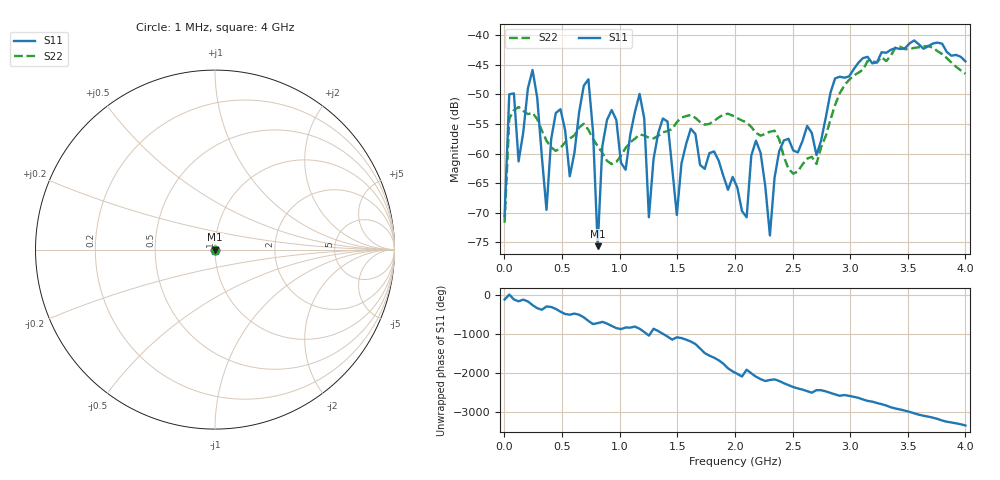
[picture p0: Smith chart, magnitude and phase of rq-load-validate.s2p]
!Created with skrf (http://scikit-rf.org).
# GHz S DB R 50.0
!freq dBS11 angS11 dBS21 angS21 dBS12 angS12 dBS22 angS22
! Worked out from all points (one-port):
!   100 points, 1 MHz to 4 GHz, reference 50 ohm
!   lowest |S11| = -75.6 dB at 808.9 MHz (marker M1), VSWR 1.00, Z = 50 - j0.000253 ohm
!   |S11| at or under -10 dB: start of sweep to end of sweep
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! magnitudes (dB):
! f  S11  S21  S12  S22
! 1 MHz  -70.5  -  -  -71.7
! 41.39 MHz  -50.0  -  -  -54.1
! 122.2 MHz  -61.3  -  -  -52.2
! 243.4 MHz  -45.9  -  -  -53.1
! 364.5 MHz  -69.5  -  -  -57.8
! 445.3 MHz  -53.2  -  -  -59.6
! 566.5 MHz  -63.8  -  -  -57.5
! 687.7 MHz  -48.6  -  -  -55.0
! 808.9 MHz  -75.6  -  -  -58.8
! 930.1 MHz  -52.7  -  -  -61.8
! 1.051 GHz  -62.7  -  -  -59.1
! 1.172 GHz  -49.9  -  -  -56.8
! 1.253 GHz  -70.8  -  -  -57.3
! 1.334 GHz  -56.5  -  -  -57.0
! 1.496 GHz  -70.4  -  -  -54.7
! 1.617 GHz  -55.8  -  -  -53.5
! 2.021 GHz  -65.7  -  -  -54.0
! 2.182 GHz  -57.8  -  -  -56.5
! 2.303 GHz  -73.8  -  -  -56.3
! 2.667 GHz  -56.5  -  -  -60.6
! 3.354 GHz  -42.5  -  -  -43.4
! 4 GHz  -44.4  -  -  -46.5
